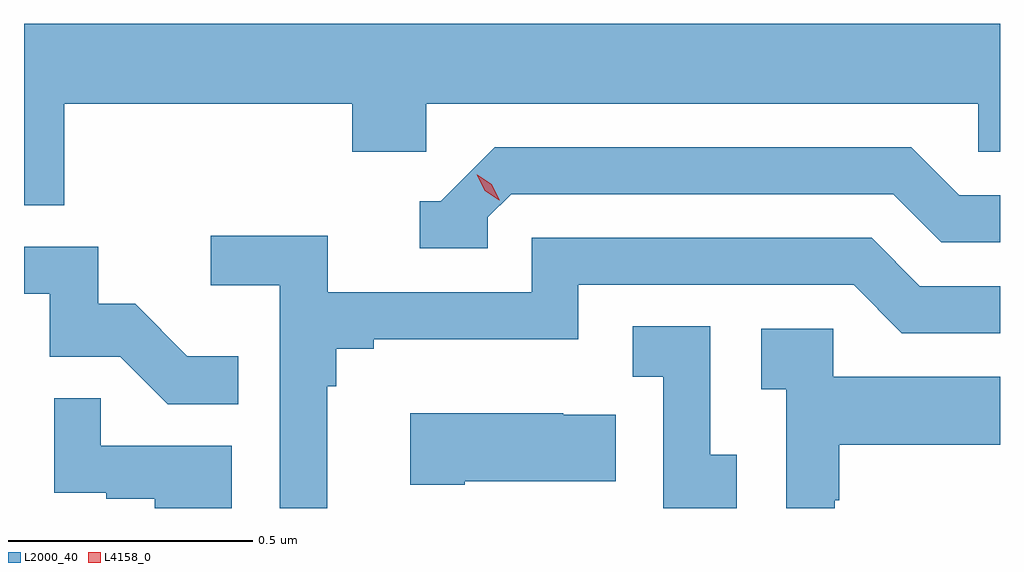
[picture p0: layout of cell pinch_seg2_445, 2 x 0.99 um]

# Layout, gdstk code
import gdstk
lib = gdstk.Library(unit=1e-6, precision=1e-09)
def P(c, l, *ps):  # polygons
    for p in ps: c.add(gdstk.Polygon(p, *l))
L2000_40 = (2000, 40)
L4158_0 = (4158, 0)

pinch_seg2_445 = lib.new_cell('pinch_seg2_445')
P(pinch_seg2_445, L2000_40, [(935.498,615.668),(936.089,615.668),(936.089,615.57),(936.24,615.57),(936.24,615.668),(937.371,615.668),(937.371,615.57),(937.416,615.57),(937.416,615.832),(935.416,615.832),(935.416,615.46),(935.498,615.46)],
  [(936.366,615.435),(936.414,615.483),(937.197,615.483),(937.296,615.384),(937.416,615.384),(937.416,615.48),(937.333,615.48),(937.234,615.579),(936.381,615.579),(936.27,615.468),(936.227,615.468),(936.227,615.372),(936.366,615.372)],
  [(936.037,615.089),(936.056,615.089),(936.056,615.166),(936.133,615.166),(936.133,615.185),(936.552,615.185),(936.552,615.297),(937.116,615.297),(937.215,615.198),(937.416,615.198),(937.416,615.294),(937.252,615.294),(937.153,615.393),(936.456,615.393),(936.456,615.282),(936.038,615.282),(936.038,615.398),(935.799,615.398),(935.799,615.296),(935.94,615.296),(935.94,614.839),(936.037,614.839)],
  [(935.855,615.151),(935.751,615.151),(935.644,615.258),(935.568,615.258),(935.568,615.375),(935.416,615.375),(935.416,615.279),(935.469,615.279),(935.469,615.15),(935.613,615.15),(935.711,615.052),(935.855,615.052)],
  [(936.877,614.949),(936.822,614.949),(936.822,615.212),(936.663,615.212),(936.663,615.109),(936.726,615.109),(936.726,614.839),(936.877,614.839)],
  [(937.077,614.855),(937.087,614.855),(937.087,614.969),(937.416,614.969),(937.416,615.109),(937.074,615.109),(937.074,615.207),(936.927,615.207),(936.927,615.083),(936.978,615.083),(936.978,614.839),(937.077,614.839)],
  [(935.842,614.967),(935.573,614.967),(935.573,615.065),(935.478,615.065),(935.478,614.871),(935.585,614.871),(935.585,614.859),(935.684,614.859),(935.684,614.839),(935.842,614.839)],
  [(936.319,614.894),(936.629,614.894),(936.629,615.031),(936.521,615.031),(936.521,615.034),(936.207,615.034),(936.207,614.887),(936.319,614.887)])
P(pinch_seg2_445, L4158_0, [(936.39,615.47),(936.36,615.49),(936.344,615.522),(936.344,615.522),(936.345,615.522),(936.375,615.503),(936.391,615.47),(936.391,615.47)])

lib.write_gds('pinch_seg2_445.gds')
